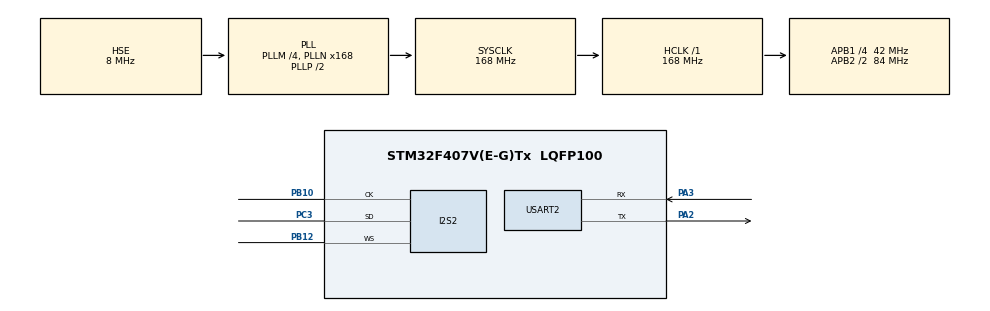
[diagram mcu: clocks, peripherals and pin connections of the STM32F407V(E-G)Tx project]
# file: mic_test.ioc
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Dma.Request0=SPI2_RX
Dma.Request1=USART2_TX
Dma.SPI2_RX.0.Direction=DMA_PERIPH_TO_MEMORY
Dma.SPI2_RX.0.FIFOMode=DMA_FIFOMODE_DISABLE
Dma.SPI2_RX.0.Instance=DMA1_Stream3
Dma.SPI2_RX.0.MemDataAlignment=DMA_MDATAALIGN_HALFWORD
Dma.SPI2_RX.0.MemInc=DMA_MINC_ENABLE
Dma.SPI2_RX.0.Mode=DMA_CIRCULAR
Dma.SPI2_RX.0.PeriphDataAlignment=DMA_PDATAALIGN_HALFWORD
Dma.SPI2_RX.0.PeriphInc=DMA_PINC_DISABLE
Dma.SPI2_RX.0.Priority=DMA_PRIORITY_LOW
Dma.USART2_TX.1.Direction=DMA_MEMORY_TO_PERIPH
Dma.USART2_TX.1.FIFOMode=DMA_FIFOMODE_DISABLE
Dma.USART2_TX.1.Instance=DMA1_Stream6
Dma.USART2_TX.1.MemDataAlignment=DMA_MDATAALIGN_BYTE
Dma.USART2_TX.1.MemInc=DMA_MINC_ENABLE
Dma.USART2_TX.1.Mode=DMA_NORMAL
Dma.USART2_TX.1.PeriphDataAlignment=DMA_PDATAALIGN_BYTE
Dma.USART2_TX.1.PeriphInc=DMA_PINC_DISABLE
Dma.USART2_TX.1.Priority=DMA_PRIORITY_LOW
I2S2.AudioFreq=AudioFreqCustomValue
I2S2.AudioFreqCustom=64000
I2S2.ErrorAudioFreq=-0.26 %
I2S2.FullDuplexMode=I2S_FULLDUPLEXMODE_DISABLE
I2S2.Instance=SPI$Index
I2S2.Mode=I2S_MODE_MASTER_RX
I2S2.RealAudioFreq=63.829 KHz
I2S2.Standard=I2S_STANDARD_LSB
I2S2.VirtualMode=I2S_MODE_MASTER
Mcu.Family=STM32F4
Mcu.Name=STM32F407V(E-G)Tx
Mcu.Package=LQFP100
NVIC.DMA1_Stream3_IRQn=true\:0\:0\:false\:false\:true\:false\:true\:true
NVIC.DMA1_Stream6_IRQn=true\:0\:0\:false\:false\:true\:false\:true\:true
NVIC.PriorityGroup=NVIC_PRIORITYGROUP_4
NVIC.USART2_IRQn=true\:0\:0\:false\:false\:true\:true\:true\:true
PA2.Mode=Asynchronous
PA2.Signal=USART2_TX
PA3.Mode=Asynchronous
PA3.Signal=USART2_RX
PB10.Mode=Half_Duplex_Master
PB10.Signal=I2S2_CK
PB12.Mode=Half_Duplex_Master
PB12.Signal=I2S2_WS
PC3.Mode=Half_Duplex_Master
PC3.Signal=I2S2_SD
PH0-OSC_IN.Mode=HSE-External-Oscillator
PH0-OSC_IN.Signal=RCC_OSC_IN
PH1-OSC_OUT.Mode=HSE-External-Oscillator
PH1-OSC_OUT.Signal=RCC_OSC_OUT
ProjectManager.HeapSize=0x200
ProjectManager.StackSize=0x400
ProjectManager.TargetToolchain=STM32CubeIDE
RCC.48MHZClocksFreq_Value=84000000
RCC.AHBFreq_Value=168000000
RCC.APB1CLKDivider=RCC_HCLK_DIV4
RCC.APB1Freq_Value=42000000
RCC.APB1TimFreq_Value=84000000
RCC.APB2CLKDivider=RCC_HCLK_DIV2
RCC.APB2Freq_Value=84000000
RCC.APB2TimFreq_Value=168000000
RCC.CortexFreq_Value=168000000
RCC.HCLKFreq_Value=168000000
RCC.HSE_VALUE=8000000
RCC.HSI_VALUE=16000000
RCC.LSE_VALUE=32768
RCC.PLLM=4
RCC.PLLN=168
RCC.PLLSourceVirtual=RCC_PLLSOURCE_HSE
RCC.SYSCLKFreq_VALUE=168000000
RCC.SYSCLKSource=RCC_SYSCLKSOURCE_PLLCLK
RCC.VCOOutputFreq_Value=336000000
USART2.VirtualMode=VM_ASYNC
VP_CRC_VS_CRC.Mode=CRC_Activate
board=custom

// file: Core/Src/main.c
/* USER CODE BEGIN Header */
/**
 ******************************************************************************
 * @file           : main.c
 * @brief          : Main program body
 ******************************************************************************
 * @attention
 *
 * Copyright (c) 2026 STMicroelectronics.
 * All rights reserved.
 *
 * This software is licensed under terms that can be found in the LICENSE file
 * in the root directory of this software component.
 * If no LICENSE file comes with this software, it is provided AS-IS.
 *
 ******************************************************************************
 */
/* USER CODE END Header */
#include "main.h"

/* USER CODE BEGIN Includes */
#include "pdm_filter.h"
#include <math.h> /* log10f for dBFS */
#include <stdio.h>
#include <string.h>

/* USER CODE END Includes */

CRC_HandleTypeDef hcrc;

I2S_HandleTypeDef hi2s2;
DMA_HandleTypeDef hdma_spi2_rx;

UART_HandleTypeDef huart2;
DMA_HandleTypeDef hdma_usart2_tx;

/* USER CODE BEGIN PV */
#include <stdio.h>
#include <string.h>

/* PDM raw data from the mic */
#define PDM_BUF_HALF 512 /* 8192 bits = 16ms of audio at 512kHz */
#define PDM_BUF_SIZE (PDM_BUF_HALF * 2)
uint16_t pdm_buf[PDM_BUF_SIZE];
int16_t pcm_buf[128]; /* 8 x 16 PCM samples per half-buffer */

/* UART TX buffer */
char uart_buf[128];
volatile uint8_t print_flag = 0;

PDMFilter_InitStruct Filter;     /* PDM decimation filter state */
static uint16_t swapped_pdm[64]; /* PDM byte-swap scratch buffer — kept global
                                    to avoid stack overflow */

/* USER CODE END PV */

void SystemClock_Config(void);
static void MX_GPIO_Init(void);
static void MX_DMA_Init(void);
static void MX_I2S2_Init(void);
static void MX_USART2_UART_Init(void);
static void MX_CRC_Init(void);

/* USER CODE BEGIN 0 */

void HAL_I2S_RxHalfCpltCallback(I2S_HandleTypeDef *hi2s) {
  if (hi2s->Instance == SPI2) {
    print_flag = 1; /* First half (0..511) is ready */
  }
}

void HAL_I2S_RxCpltCallback(I2S_HandleTypeDef *hi2s) {
  if (hi2s->Instance == SPI2) {
    print_flag = 2; /* Second half (512..1023) is ready */
  }
}

/* USER CODE END 0 */

int main(void) {

  /* MCU Configuration--------------------------------------------------------*/

  /* Reset of all peripherals, Initializes the Flash interface and the Systick.
   */
  HAL_Init();

  /* Configure the system clock */
  SystemClock_Config();

  /* Initialize all configured peripherals */
  MX_GPIO_Init();
  MX_DMA_Init();
  MX_I2S2_Init();
  MX_USART2_UART_Init();
  MX_CRC_Init();
  /* USER CODE BEGIN 2 */
  HAL_Delay(500); /* Long delay — ensure USB serial bridge has opened */

  /* Checkpoint 1 — UART works */
  HAL_UART_Transmit(&huart2, (uint8_t *)"[1] Boot OK\r\n", 13, 100);

  /* Init PDM filter */
  Filter.Fs =
      16000; /* Real target PCM frequency (e.g. 1.024MHz / 64 dec = 16kHz) */
  Filter.LP_HZ = 8000.0f;
  Filter.HP_HZ = 10.0f;
  Filter.In_MicChannels = 1;
  Filter.Out_MicChannels = 1;

  PDM_Filter_Init(&Filter);

  HAL_UART_Transmit(&huart2, (uint8_t *)"[2] PDM filter init OK\r\n", 24, 100);

  /* Start I2S DMA */
  if (HAL_I2S_Receive_DMA(&hi2s2, pdm_buf, PDM_BUF_SIZE) != HAL_OK) {
    HAL_UART_Transmit(&huart2, (uint8_t *)"[ERR] I2S DMA failed!\r\n", 23, 100);
    Error_Handler();
  }

  HAL_UART_Transmit(&huart2,
                    (uint8_t *)"[3] I2S DMA running — VU meter starting...\r\n",
                    44, 100);
  /* USER CODE END 2 */

  /* Infinite loop */
  /* USER CODE BEGIN WHILE */

  /* ═════════════════════
   * DYNAMIC SILENCE GATE
   * ═════════════════════ */
#define SILENCE_BAR_INIT 30
#define OBSERVE_CYCLE_BLOCKS 50 /* 50 blocks * 8ms = 400ms target */
#define OBSERVE_TOLERANCE 5     /* ±5 variance between 8ms block envelopes */

  static int16_t silence_bar = SILENCE_BAR_INIT;
  static int16_t prev_silence_bar = SILENCE_BAR_INIT;
  static int16_t prev_block_peak = 0;
  static int16_t observe_peak = 0;
  static int32_t stable_run = 0;
  static int32_t below_bar_run = 0;
  static int32_t over_bar_run = 0; /* Add track for over-bar jumps */
  static uint8_t gate_active = (SILENCE_BAR_INIT > 0) ? 1 : 0;

  while (1) {
    /* USER CODE END WHILE */

    /* USER CODE BEGIN 3 */
    if (print_flag == 1 || print_flag == 2) {
      int half = print_flag;
      print_flag = 0;

      int base = (half == 1) ? 0 : 512;

      for (int chunk = 0; chunk < 8; chunk++) {
        for (int i = 0; i < 64; i++) {
          swapped_pdm[i] = HTONS(pdm_buf[base + (chunk * 64) + i]);
        }
        PDM_Filter_64_LSB((uint8_t *)swapped_pdm,
                          (uint16_t *)&pcm_buf[chunk * 16], 1, &Filter);
      }

      /* 1. Extract the Envelope (Absolute Peak of the 8ms Block) */
      int16_t block_peak = 0;
      for (int i = 0; i < 128; i++) {
        int16_t raw_v = pcm_buf[i];
        int16_t abs_v = (raw_v < 0) ? -raw_v : raw_v;
        if (abs_v > block_peak)
          block_peak = abs_v;
      }

      /* ── DYNAMIC SILENCE GATE STATE MACHINE ── */

      /* Rule 1: The Stability Tracker (Finding the Noise Floor)
       * Instead of looking at zero crossings, we look at the absolute volume
       * envelope of the room spanning 8ms window blocks. If the volume envelope
       * barely shifts (diff <= OBSERVE_TOLERANCE) between consecutive blocks,
       * we consider the room "acoustically stable".
       */
      int16_t diff = block_peak - prev_block_peak;
      if (diff < 0)
        diff = -diff;

      if (diff <= OBSERVE_TOLERANCE) {
        /* The room is quiet/flat. Increment our stable observation counter. */
        stable_run++;

        /* Continuously track the absolute maximum peak while in this stable
         * phase */
        if (block_peak > observe_peak)
          observe_peak = block_peak;

        /* If the room remains perfectly stable for a full Observation Cycle
         * (e.g. 50 blocks = 400ms), we confidently lock the Silence Bar
         * precisely at the highest peak observed! */
        if (stable_run >= OBSERVE_CYCLE_BLOCKS) {
          silence_bar = observe_peak;
          prev_silence_bar = silence_bar;
          gate_active = 1;

          /* Reset observer counters to begin searching for the next valid lock
           */
          stable_run = 0;
          observe_peak = block_peak;
          over_bar_run = 0;
        }
      } else {
        /* The envelope jumped! This could be a voice or a micro-spike of
         * static. Shatter the stable chain, preventing it from incorrectly
         * locking a new floor here. */
        stable_run = 0;
        observe_peak = block_peak;
      }

      prev_block_peak = block_peak;

      /* Rule 2: Acoustic Hysteresis (Opening the Gate)
       * We never open the gate on a single jump. DC electrical hum often
       * micro-spikes. To prove it's a real sound (like a human voice), the
       * amplitude must breach ABOVE the established silence bar AND sustain
       * that breach for 3 consecutive blocks (24ms). This mathematically
       * eliminates pop-noise while keeping speech attack times flawlessly
       * sharp.
       */
      if (gate_active) {
        if (block_peak > silence_bar) {
          over_bar_run++;
          if (over_bar_run >= 3) { /* Sustained breach authorized */
            gate_active = 0; /* Disable gate: let the full raw voice waveform through! */
            over_bar_run = 0;
          }
        } else {
          over_bar_run = 0; /* Failed to sustain breach, ignore the pop */
        }
      }

      /* Rule 3: The Fallback Timeout (Closing the Gate)
       * When human speech finishes, the room drops back to silence. However,
       * micro-jittering DC noise might prevent Rule 1 from finding perfect
       * stability to immediately re-lock the gate. Fallback: If we are
       * currently "open", but the volume envelope falls entirely beneath the
       * last-known silence bar for 400ms seamlessly, we assume speech is over
       * and manually snap the gate back shut using the old threshold.
       */
      if (!gate_active && prev_silence_bar > 0) {
        if (block_peak <= prev_silence_bar) {
          below_bar_run++;
          if (below_bar_run >= OBSERVE_CYCLE_BLOCKS) {
            gate_active = 1;
            silence_bar = prev_silence_bar;
            below_bar_run = 0;
            over_bar_run = 0;
          }
        } else {
          below_bar_run = 0;
        }
      }

      /* 2. Apply Gating (If Active and below the bar envelope limit) */
      int32_t final_peak = 0;
      for (int i = 0; i < 128; i++) {
        int16_t raw_v = pcm_buf[i];
        int16_t abs_v = (raw_v < 0) ? -raw_v : raw_v;

        if (gate_active && abs_v <= silence_bar) {
          pcm_buf[i] = 0;
          abs_v = 0;
        }

        if (abs_v > final_peak)
          final_peak = abs_v;
      }

      /* Visual VU Meter */
      int len = 0;
      int bars = (int)(final_peak /
                       20); /* Scale sensitivity for voice values (400-800) */
      if (bars > 50)
        bars = 50;

      for (int i = 0; i < bars; i++)
        uart_buf[i] = '|';
      len = bars;

      len += snprintf(uart_buf + len, sizeof(uart_buf) - len,
                      " raw:%d out:%ld | bar:%d %s\r\n", block_peak, final_peak,
                      silence_bar, gate_active ? "GATE" : "PASS");
      HAL_UART_Transmit_DMA(&huart2, (uint8_t *)uart_buf, len);
    }
  }
  /* USER CODE END 3 */
}

void SystemClock_Config(void) {
  RCC_OscInitTypeDef RCC_OscInitStruct = {0};
  RCC_ClkInitTypeDef RCC_ClkInitStruct = {0};

  /** Configure the main internal regulator output voltage
   */
  __HAL_RCC_PWR_CLK_ENABLE();
  __HAL_PWR_VOLTAGESCALING_CONFIG(PWR_REGULATOR_VOLTAGE_SCALE1);

  /** Initializes the RCC Oscillators according to the specified parameters
   * in the RCC_OscInitTypeDef structure.
   */
  RCC_OscInitStruct.OscillatorType = RCC_OSCILLATORTYPE_HSE;
  RCC_OscInitStruct.HSEState = RCC_HSE_ON;
  RCC_OscInitStruct.PLL.PLLState = RCC_PLL_ON;
  RCC_OscInitStruct.PLL.PLLSource = RCC_PLLSOURCE_HSE;
  RCC_OscInitStruct.PLL.PLLM = 4;
  RCC_OscInitStruct.PLL.PLLN = 168;
  RCC_OscInitStruct.PLL.PLLP = RCC_PLLP_DIV2;
  RCC_OscInitStruct.PLL.PLLQ = 4;
  if (HAL_RCC_OscConfig(&RCC_OscInitStruct) != HAL_OK) {
    Error_Handler();
  }

  /** Initializes the CPU, AHB and APB buses clocks
   */
  RCC_ClkInitStruct.ClockType = RCC_CLOCKTYPE_HCLK | RCC_CLOCKTYPE_SYSCLK |
                                RCC_CLOCKTYPE_PCLK1 | RCC_CLOCKTYPE_PCLK2;
  RCC_ClkInitStruct.SYSCLKSource = RCC_SYSCLKSOURCE_PLLCLK;
  RCC_ClkInitStruct.AHBCLKDivider = RCC_SYSCLK_DIV1;
  RCC_ClkInitStruct.APB1CLKDivider = RCC_HCLK_DIV4;
  RCC_ClkInitStruct.APB2CLKDivider = RCC_HCLK_DIV2;

  if (HAL_RCC_ClockConfig(&RCC_ClkInitStruct, FLASH_LATENCY_5) != HAL_OK) {
    Error_Handler();
  }
}

static void MX_CRC_Init(void) {

  hcrc.Instance = CRC;
  if (HAL_CRC_Init(&hcrc) != HAL_OK) {
    Error_Handler();
  }
}

static void MX_I2S2_Init(void) {

  hi2s2.Instance = SPI2;
  hi2s2.Init.Mode = I2S_MODE_MASTER_RX;
  hi2s2.Init.Standard = I2S_STANDARD_LSB;
  hi2s2.Init.DataFormat = I2S_DATAFORMAT_16B;
  hi2s2.Init.MCLKOutput = I2S_MCLKOUTPUT_DISABLE;
  hi2s2.Init.AudioFreq = 64000;
  hi2s2.Init.CPOL = I2S_CPOL_LOW;
  hi2s2.Init.ClockSource = I2S_CLOCK_PLL;
  hi2s2.Init.FullDuplexMode = I2S_FULLDUPLEXMODE_DISABLE;
  if (HAL_I2S_Init(&hi2s2) != HAL_OK) {
    Error_Handler();
  }
}

static void MX_USART2_UART_Init(void) {

  huart2.Instance = USART2;
  huart2.Init.BaudRate = 115200;
  huart2.Init.WordLength = UART_WORDLENGTH_8B;
  huart2.Init.StopBits = UART_STOPBITS_1;
  huart2.Init.Parity = UART_PARITY_NONE;
  huart2.Init.Mode = UART_MODE_TX_RX;
  huart2.Init.HwFlowCtl = UART_HWCONTROL_NONE;
  huart2.Init.OverSampling = UART_OVERSAMPLING_16;
  if (HAL_UART_Init(&huart2) != HAL_OK) {
    Error_Handler();
  }
}

static void MX_DMA_Init(void) {

  /* DMA controller clock enable */
  __HAL_RCC_DMA1_CLK_ENABLE();

  /* DMA interrupt init */
  /* DMA1_Stream3_IRQn interrupt configuration */
  HAL_NVIC_SetPriority(DMA1_Stream3_IRQn, 0, 0);
  HAL_NVIC_EnableIRQ(DMA1_Stream3_IRQn);
  /* DMA1_Stream6_IRQn interrupt configuration */
  HAL_NVIC_SetPriority(DMA1_Stream6_IRQn, 0, 0);
  HAL_NVIC_EnableIRQ(DMA1_Stream6_IRQn);
}

static void MX_GPIO_Init(void) {

  /* GPIO Ports Clock Enable */
  __HAL_RCC_GPIOH_CLK_ENABLE();
  __HAL_RCC_GPIOC_CLK_ENABLE();
  __HAL_RCC_GPIOA_CLK_ENABLE();
  __HAL_RCC_GPIOB_CLK_ENABLE();

}

void Error_Handler(void) {
  __disable_irq();
  while (1) {
  }
}

#ifdef USE_FULL_ASSERT
/**
 * @brief  Reports the name of the source file and the source line number
 *         where the assert_param error has occurred.
 * @param  file: pointer to the source file name
 * @param  line: assert_param error line source number
 * @retval None
 */
void assert_failed(uint8_t *file, uint32_t line) {
  /* USER CODE BEGIN 6 */
  /* User can add his own implementation to report the file name and line
     number, ex: printf("Wrong parameters value: file %s on line %d\r\n", file,
     line) */
  /* USER CODE END 6 */
}
#endif /* USE_FULL_ASSERT */
